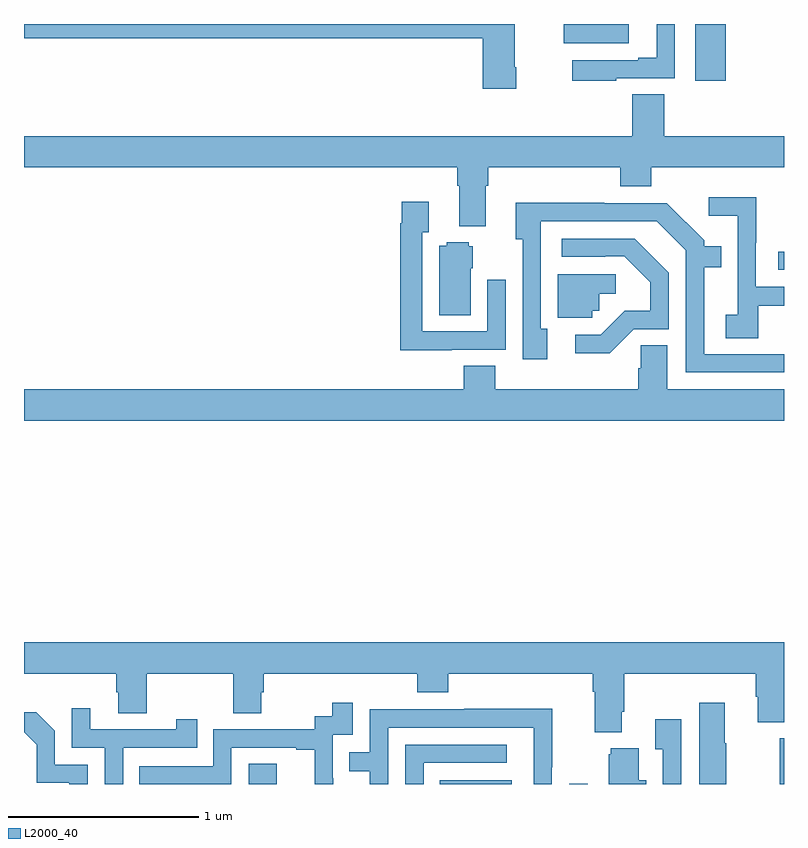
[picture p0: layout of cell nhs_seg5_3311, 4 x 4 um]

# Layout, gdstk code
import gdstk
lib = gdstk.Library(unit=1e-6, precision=1e-09)
def R(c, l, rs):  # rectangles x0, y0, x1, y1
    for r in rs: c.add(gdstk.rectangle(r[:2], r[2:], *l))
def P(c, l, *ps):  # polygons
    for p in ps: c.add(gdstk.Polygon(p, *l))
L2000_40 = (2000, 40)

nhs_seg5_3311 = lib.new_cell('nhs_seg5_3311')
R(nhs_seg5_3311, L2000_40, [(304.182,902.799,304.33,902.905), (305.188,902.799,305.566,902.818), (305.871,902.799,305.967,902.8), (306.978,902.799,307,903.039), (306.969,905.505,307,905.601), (306.533,906.501,306.694,906.799), (305.84,906.698,306.184,906.799)])
P(nhs_seg5_3311, L2000_40, [(305.592,906.571),(305.584,906.571),(305.584,906.799),(303,906.799),(303,906.724),(305.414,906.724),(305.414,906.459),(305.592,906.459)],
  [(306.116,906.513),(306.426,906.513),(306.426,906.799),(306.329,906.799),(306.329,906.622),(306.233,906.622),(306.233,906.609),(305.886,906.609),(305.886,906.501),(306.116,906.501)],
  [(305.431,905.948),(305.444,905.948),(305.444,906.044),(306.137,906.044),(306.137,905.945),(306.302,905.945),(306.302,906.044),(307,906.044),(307,906.208),(306.371,906.208),(306.371,906.428),(306.2,906.428),(306.2,906.208),(303,906.208),(303,906.044),(305.279,906.044),(305.279,905.948),(305.291,905.948),(305.291,905.735),(305.431,905.735)],
  [(306.865,905.317),(307,905.317),(307,905.415),(306.852,905.415),(306.852,905.648),(306.855,905.648),(306.855,905.887),(306.603,905.887),(306.603,905.789),(306.756,905.789),(306.756,905.268),(306.693,905.268),(306.693,905.146),(306.865,905.146)],
  [(305.251,905.085),(305.535,905.085),(305.535,905.452),(305.439,905.452),(305.439,905.181),(305.097,905.181),(305.097,905.702),(305.131,905.702),(305.131,905.863),(304.989,905.863),(304.989,905.75),(304.981,905.75),(304.981,905.081),(305.251,905.081)],
  [(307,905.061),(306.58,905.061),(306.58,905.52),(306.671,905.52),(306.671,905.629),(306.579,905.629),(306.579,905.661),(306.384,905.856),(306.053,905.856),(306.053,905.858),(305.588,905.858),(305.588,905.666),(305.625,905.666),(305.625,905.034),(305.755,905.034),(305.755,905.194),(305.721,905.194),(305.721,905.76),(306.33,905.76),(306.483,905.607),(306.483,904.965),(307,904.965)],
  [(306.21,905.193),(306.393,905.193),(306.393,905.491),(306.214,905.67),(305.829,905.67),(305.829,905.574),(306.059,905.574),(306.059,905.577),(306.159,905.577),(306.296,905.44),(306.296,905.29),(306.163,905.29),(306.036,905.163),(305.901,905.163),(305.901,905.066),(306.082,905.066)],
  [(305.35,905.514),(305.362,905.514),(305.362,905.628),(305.34,905.628),(305.34,905.65),(305.226,905.65),(305.226,905.632),(305.186,905.632),(305.186,905.266),(305.35,905.266)],
  [(305.991,905.289),(306.027,905.289),(306.027,905.378),(306.115,905.378),(306.115,905.481),(305.81,905.481),(305.81,905.253),(305.991,905.253)],
  [(307,904.876),(306.385,904.876),(306.385,905.108),(306.247,905.108),(306.247,904.986),(306.233,904.986),(306.233,904.876),(305.48,904.876),(305.48,905),(305.315,905),(305.315,904.876),(303,904.876),(303,904.712),(307,904.712)],
  [(306.145,903.178),(306.158,903.178),(306.158,903.38),(306.851,903.38),(306.851,903.258),(306.863,903.258),(306.863,903.124),(307,903.124),(307,903.544),(303,903.544),(303,903.38),(303.485,903.38),(303.485,903.282),(303.497,903.282),(303.497,903.172),(303.645,903.172),(303.645,903.38),(304.102,903.38),(304.102,903.172),(304.249,903.172),(304.249,903.282),(304.262,903.282),(304.262,903.38),(305.069,903.38),(305.069,903.281),(305.234,903.281),(305.234,903.38),(305.993,903.38),(305.993,903.284),(306.005,903.284),(306.005,903.071),(306.145,903.071)],
  [(304.092,902.991),(304.433,902.991),(304.433,902.979),(304.529,902.979),(304.529,902.799),(304.628,902.799),(304.628,902.828),(304.626,902.828),(304.626,903.057),(304.731,903.057),(304.731,903.226),(304.623,903.226),(304.623,903.156),(304.53,903.156),(304.53,903.087),(303.996,903.087),(303.996,902.892),(303.607,902.892),(303.607,902.799),(304.092,902.799)],
  [(306.696,903.013),(306.688,903.013),(306.688,903.226),(306.554,903.226),(306.554,902.799),(306.696,902.799)],
  [(303.522,902.991),(303.911,902.991),(303.911,903.139),(303.8,903.139),(303.8,903.087),(303.349,903.087),(303.349,903.199),(303.252,903.199),(303.252,902.991),(303.426,902.991),(303.426,902.799),(303.522,902.799)],
  [(304.917,903.096),(305.682,903.096),(305.682,902.799),(305.778,902.799),(305.778,902.887),(305.781,902.887),(305.781,903.194),(305.317,903.194),(305.317,903.192),(304.821,903.192),(304.821,902.967),(304.711,902.967),(304.711,902.866),(304.821,902.866),(304.821,902.799),(304.917,902.799)],
  [(303.336,902.901),(303.162,902.901),(303.162,903.078),(303.064,903.176),(303,903.176),(303,903.072),(303.066,903.006),(303.066,902.805),(303.239,902.805),(303.239,902.799),(303.336,902.799)],
  [(306.459,903.139),(306.323,903.139),(306.323,902.983),(306.363,902.983),(306.363,902.799),(306.459,902.799)],
  [(305.103,902.91),(305.542,902.91),(305.542,903.006),(305.007,903.006),(305.007,902.799),(305.103,902.799)],
  [(306.274,902.818),(306.235,902.818),(306.235,902.986),(306.089,902.986),(306.089,902.955),(306.077,902.955),(306.077,902.799),(306.274,902.799)])

lib.write_gds('nhs_seg5_3311.gds')
